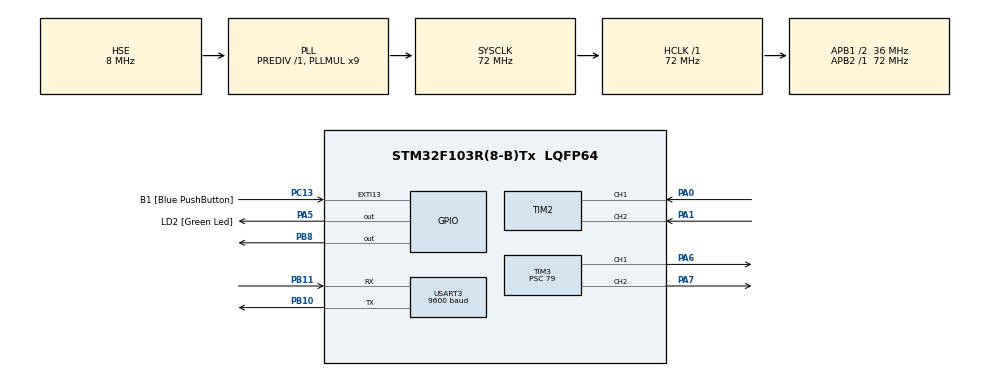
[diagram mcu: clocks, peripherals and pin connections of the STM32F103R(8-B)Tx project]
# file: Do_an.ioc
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Dma.Request0=USART3_TX
Dma.Request1=USART3_RX
Dma.USART3_RX.1.Direction=DMA_PERIPH_TO_MEMORY
Dma.USART3_RX.1.Instance=DMA1_Channel3
Dma.USART3_RX.1.MemDataAlignment=DMA_MDATAALIGN_BYTE
Dma.USART3_RX.1.MemInc=DMA_MINC_ENABLE
Dma.USART3_RX.1.Mode=DMA_NORMAL
Dma.USART3_RX.1.PeriphDataAlignment=DMA_PDATAALIGN_BYTE
Dma.USART3_RX.1.PeriphInc=DMA_PINC_DISABLE
Dma.USART3_RX.1.Priority=DMA_PRIORITY_HIGH
Dma.USART3_TX.0.Direction=DMA_MEMORY_TO_PERIPH
Dma.USART3_TX.0.Instance=DMA1_Channel2
Dma.USART3_TX.0.MemDataAlignment=DMA_MDATAALIGN_BYTE
Dma.USART3_TX.0.MemInc=DMA_MINC_ENABLE
Dma.USART3_TX.0.Mode=DMA_NORMAL
Dma.USART3_TX.0.PeriphDataAlignment=DMA_PDATAALIGN_BYTE
Dma.USART3_TX.0.PeriphInc=DMA_PINC_DISABLE
Dma.USART3_TX.0.Priority=DMA_PRIORITY_HIGH
Mcu.Family=STM32F1
Mcu.Name=STM32F103R(8-B)Tx
Mcu.Package=LQFP64
NVIC.DMA1_Channel2_IRQn=true\:0\:0\:false\:false\:true\:false\:true\:true
NVIC.DMA1_Channel3_IRQn=true\:0\:0\:false\:false\:true\:false\:true\:true
NVIC.EXTI15_10_IRQn=true\:0\:0\:false\:false\:true\:true\:true\:true
NVIC.PriorityGroup=NVIC_PRIORITYGROUP_4
NVIC.TIM2_IRQn=true\:0\:0\:false\:false\:true\:true\:true\:true
NVIC.USART3_IRQn=true\:0\:0\:false\:false\:true\:true\:true\:true
PA0-WKUP.Signal=S_TIM2_CH1_ETR
PA1.Signal=S_TIM2_CH2
PA13.GPIO_Label=TMS
PA13.Mode=Serial_Wire
PA13.Signal=SYS_JTMS-SWDIO
PA14.GPIO_Label=TCK
PA14.Mode=Serial_Wire
PA14.Signal=SYS_JTCK-SWCLK
PA5.GPIO_Label=LD2 [Green Led]
PA5.GPIO_ModeDefaultOutputPP=GPIO_MODE_OUTPUT_PP
PA5.GPIO_PuPd=GPIO_NOPULL
PA5.GPIO_Speed=GPIO_SPEED_FREQ_LOW
PA5.Signal=GPIO_Output
PA6.Signal=S_TIM3_CH1
PA7.Signal=S_TIM3_CH2
PB10.Mode=Asynchronous
PB10.Signal=USART3_TX
PB11.Mode=Asynchronous
PB11.Signal=USART3_RX
PB3.GPIO_Label=SWO
PB3.Signal=SYS_JTDO-TRACESWO
PB8.Signal=GPIO_Output
PC13-TAMPER-RTC.GPIO_Label=B1 [Blue PushButton]
PC13-TAMPER-RTC.GPIO_PuPd=GPIO_NOPULL
PC13-TAMPER-RTC.Signal=GPXTI13
PC14-OSC32_IN.Signal=RCC_OSC32_IN
PC15-OSC32_OUT.Signal=RCC_OSC32_OUT
PD0-OSC_IN.Mode=HSE-External-Oscillator
PD0-OSC_IN.Signal=RCC_OSC_IN
PD1-OSC_OUT.Mode=HSE-External-Oscillator
PD1-OSC_OUT.Signal=RCC_OSC_OUT
ProjectManager.HeapSize=0x200
ProjectManager.StackSize=0x400
ProjectManager.TargetToolchain=STM32CubeIDE
RCC.AHBFreq_Value=72000000
RCC.APB1CLKDivider=RCC_HCLK_DIV2
RCC.APB1Freq_Value=36000000
RCC.APB1TimFreq_Value=72000000
RCC.APB2Freq_Value=72000000
RCC.APB2TimFreq_Value=72000000
RCC.HCLKFreq_Value=72000000
RCC.PLLMUL=RCC_PLL_MUL9
RCC.PLLSourceVirtual=RCC_PLLSOURCE_HSE
RCC.RTCClockSelection=RCC_RTCCLKSOURCE_LSE
RCC.SYSCLKFreq_VALUE=72000000
RCC.SYSCLKSource=RCC_SYSCLKSOURCE_PLLCLK
RCC.USBFreq_Value=72000000
SH.S_TIM2_CH1_ETR.0=TIM2_CH1,Encoder_Interface
SH.S_TIM2_CH2.0=TIM2_CH2,Encoder_Interface
SH.S_TIM3_CH1.0=TIM3_CH1,PWM Generation1 CH1
SH.S_TIM3_CH2.0=TIM3_CH2,PWM Generation2 CH2
TIM2.EncoderMode=TIM_ENCODERMODE_TI12
TIM3.Channel-PWM\ Generation1\ CH1=TIM_CHANNEL_1
TIM3.Channel-PWM\ Generation2\ CH2=TIM_CHANNEL_2
TIM3.Period=10000
TIM3.Prescaler=79
USART3.BaudRate=9600
USART3.VirtualMode=VM_ASYNC
VP_TIM3_VS_ClockSourceINT.Mode=Internal
board=NUCLEO-F103RB

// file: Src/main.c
/* USER CODE BEGIN Header */
/**
 ******************************************************************************
 * @file           : main.c
 * @brief          : Main program body
 ******************************************************************************
 * @attention
 *
 * Copyright (c) 2023 STMicroelectronics.
 * All rights reserved.
 *
 * This software is licensed under terms that can be found in the LICENSE file
 * in the root directory of this software component.
 * If no LICENSE file comes with this software, it is provided AS-IS.
 *
 ******************************************************************************
 */
/* USER CODE END Header */
#include "main.h"

/* USER CODE BEGIN Includes */
#include "stdio.h"
#include <stdlib.h>
uint8_t RX_Buff_dma[8];
uint8_t RX_Data_dma;
uint8_t TX_Buff[25] = "Thuy Kieu xinh dep";
uint8_t rxIndex;
uint16_t Tx_Flag = 0;
int motor_state = 0;
int mode_select;
int last_motor_state = 0;
float tkp = 0;
float tki = 0;
float tkd = 0;
float a;
float b;
float g;
float delta;
typedef struct {
	uint8_t rawData[21];
	struct {
		char startStop[1];
		char setpoint[5];
		char kp[5];
		char ki[5];
		char kd[5];
	} data;
} rawData_t;
typedef struct {
	struct {
		float kp;
		float ki;
		float kd;
		float setpoint;
	} PID;
} data_t;

uint8_t rcv_flag = 0;

rawData_t rawData;
data_t data;
#define RX_BUFF_SIZE 22
uint8_t rx_buff[RX_BUFF_SIZE];
/* USER CODE END Includes */

TIM_HandleTypeDef htim2;
TIM_HandleTypeDef htim3;

UART_HandleTypeDef huart3;
DMA_HandleTypeDef hdma_usart3_tx;
DMA_HandleTypeDef hdma_usart3_rx;

void SystemClock_Config(void);
static void MX_GPIO_Init(void);
static void MX_DMA_Init(void);
static void MX_TIM2_Init(void);
static void MX_TIM3_Init(void);
static void MX_USART3_UART_Init(void);

/* USER CODE BEGIN 0 */
volatile short encoder_cnt = 0, encoder_cnt_pre = 0;
volatile short rate = 0, pulse;
//volatile short a = 0, b = 0;
uint16_t var, pwm, pwm_last = 0;
float speed; //tốc độ (rpm)
//const uint8_t * buffer[8];
char buffer[8]; //  ?ịnh nghĩa bộ đệm đủ lớn để lưu trữ chuỗi số
char buffer_pos[8];
float speed_ref;
float setpoint = 0;
float kp;
float ki;
float kd;
float e_current, E1 = 0, E2 = 0;
float a, b, g;
char buffer_speed_ref[6];
int64_t position = 0;
int16_t position_ref;
int16_t position_deg = 0;
uint32_t last_counter = 0;
int16_t velocity = 0;

//uint32_t timer_counter;
uint16_t PID(float T);
uint16_t PID_POS(float T, float e_pos);
//void HAL_TIM_PeriodElapsedCallback(TIM_HandleTypeDef *htim){
//	timer_counter = __HAL_TIM_GET_COUNTER(&htim2);
//}

uint32_t counter = 0;

void HAL_TIM_IC_CaptureCallback(TIM_HandleTypeDef *htim) {
	counter = __HAL_TIM_GET_COUNTER(htim);
}
void floatToStr(float value, char *buffer, int bufferSize) {
	if (value >= 100)
		snprintf(buffer, bufferSize, "%.2f", value);

	else if (value >= 10) //10.1 -> 99.99
		snprintf(buffer, bufferSize, "%.3f", value);

	else
		snprintf(buffer, bufferSize, "%.4f", value);

}
float stringToFloat(char *str) {
	return atof(str);
}

void DMA_RxComplete_Callback() {
	uint16_t i;
	__HAL_DMA_CLEAR_FLAG(&hdma_usart3_rx, DMA_FLAG_TC3);
	/* Copy received data to rawData buffer */
	for (i = 0; i < RX_BUFF_SIZE; i++) {
		rawData.rawData[i] = rx_buff[i];
	}
	char char_value[5];

	motor_state = rx_buff[0] - 48;
	mode_select = rx_buff[21] - 48;
	for (int i = 1, j = 0; i <= 5; i++) {
		char_value[j++] = rx_buff[i];
	}
	if (mode_select == 0)
		speed_ref = atoff(char_value);
	else
		position_ref = atoff(char_value);
	for (int i = 6, j = 0; i <= 10; i++) {
		char_value[j++] = rx_buff[i];
	}
	kp = atoff(char_value);
	for (int i = 11, j = 0; i <= 15; i++) {
		char_value[j++] = rx_buff[i];
	}
	ki = atoff(char_value);
	for (int i = 16, j = 0; i <= 20; i++) {
		char_value[j++] = rx_buff[i];
	}
	kd = atoff(char_value);
//     speed_ref = (rx_buff[3] - 48)*100 + (rx_buff[4] - 48)*10 +(rx_buff[5]);
//      kp = rx_buff[10] - 48;
//      ki = rx_buff[15] - 48;
//      kd = (rx_buff[18] - 48) + (rx_buff);//ê có hàm string to float mà đâu
//      motor_state = rx_buff[0] - 48;// chưa hiểu hàm đó lắm, hàm đó t h�?i con chat ngu, để fix thử hàm đó xem
//      motor_state = rx_buff[0] - 48;
//      motor_state = rx_buff[0] - 48;

	/* Set flag to indicate that a frame has been received */
	rcv_flag = 1;

	/* Enable DMA1 to receive next frame */
	HAL_UART_Receive_DMA(&huart3, rx_buff, sizeof(rx_buff));
}
/* USER CODE END 0 */

int main(void) {
	/* USER CODE BEGIN 1 */
	float T = 50;
	/* USER CODE END 1 */

	/* MCU Configuration--------------------------------------------------------*/

	/* Reset of all peripherals, Initializes the Flash interface and the Systick. */
	HAL_Init();

	/* Configure the system clock */
	SystemClock_Config();

	/* Initialize all configured peripherals */
	MX_GPIO_Init();
	MX_DMA_Init();
	MX_TIM2_Init();
	MX_TIM3_Init();
	MX_USART3_UART_Init();
	/* USER CODE BEGIN 2 */
	HAL_TIM_Encoder_Start(&htim2, TIM_CHANNEL_1 | TIM_CHANNEL_2);
	HAL_TIM_PWM_Start(&htim3, TIM_CHANNEL_1);
	HAL_TIM_PWM_Start(&htim3, TIM_CHANNEL_2);
	HAL_UART_Receive_DMA(&huart3, rx_buff, sizeof(rx_buff));
	/* USER CODE END 2 */

	/* Infinite loop */
	/* USER CODE BEGIN WHILE */
	while (1) {
		DMA_RxComplete_Callback();
		encoder_cnt = __HAL_TIM_GET_COUNTER(&htim2);
		rate = encoder_cnt - encoder_cnt_pre;
		encoder_cnt_pre = encoder_cnt;
		speed = rate / 1320.0 / T * 60 * 1000;
		uint32_t temp_counter = __HAL_TIM_GET_COUNTER(&htim2);
		if (temp_counter == last_counter)
			velocity = 0;
		else if (temp_counter > last_counter)
			if (__HAL_TIM_IS_TIM_COUNTING_DOWN(&htim2)) {
				velocity = -last_counter
						- (__HAL_TIM_GET_AUTORELOAD(&htim2) - temp_counter);

			} else {
				velocity = temp_counter - last_counter;
			}
		else {
			if (__HAL_TIM_IS_TIM_COUNTING_DOWN(&htim2)) {
				velocity = temp_counter - last_counter;
			} else {
				velocity = temp_counter
						+ (__HAL_TIM_GET_AUTORELOAD(&htim2) - last_counter);
			}
		}
		position += velocity;
		position_deg = position/1320.0*360;
		last_counter = temp_counter;

		if (mode_select == 0) {
			floatToStr(speed, buffer, 8);
			buffer[6] = '\r';
			buffer[7] = '\n';
			HAL_UART_Transmit_DMA(&huart3, buffer, sizeof(buffer));
			if (motor_state == 1) {
				//HAL_GPIO_TogglePin(GPIOB, GPIO_PIN_8);
				if (last_motor_state == 0) {
					HAL_GPIO_WritePin(GPIOB, GPIO_PIN_8, 1); // thư�?ng lệnh này chỉ cho thay đổi 1 lần chứ ko cho chạy lien tuc
					last_motor_state = 1;
				}

				__HAL_TIM_SET_COMPARE(&htim3, TIM_CHANNEL_1, PID(T));
				__HAL_TIM_SET_COMPARE(&htim3, TIM_CHANNEL_2, 0);
			}
			if (motor_state == 0 && last_motor_state == 1) {

				HAL_GPIO_WritePin(GPIOB, GPIO_PIN_8, 0);
				last_motor_state = 0;
				position = 0;
				pwm_last = 0;
				E1 = 0;
				E2 = 0;
			}
			HAL_Delay(T);
		} else {

			floatToStr(position_deg, buffer_pos, 8);
			buffer_pos[6] = '\r';
			buffer_pos[7] = '\n';
			HAL_UART_Transmit_DMA(&huart3, buffer_pos, sizeof(buffer_pos));
			if (motor_state == 1) {
				//HAL_GPIO_TogglePin(GPIOB, GPIO_PIN_8);
				if (last_motor_state == 0) {
					HAL_GPIO_WritePin(GPIOB, GPIO_PIN_8, 1); // thư�?ng lệnh này chỉ cho thay đổi 1 lần chứ ko cho chạy lien tuc
					last_motor_state = 1;
				}
				//if ()
				float e_pos = position_ref - position_deg;
				if (e_pos >= 0) {
					__HAL_TIM_SET_COMPARE(&htim3, TIM_CHANNEL_1,
							PID_POS(T, e_pos));
					__HAL_TIM_SET_COMPARE(&htim3, TIM_CHANNEL_2, 0);
				} else {
					__HAL_TIM_SET_COMPARE(&htim3, TIM_CHANNEL_1, 0);
					__HAL_TIM_SET_COMPARE(&htim3, TIM_CHANNEL_2,
							PID_POS(T, -e_pos));
				}

			}
			if (motor_state == 0 && last_motor_state == 1) {

				HAL_GPIO_WritePin(GPIOB, GPIO_PIN_8, 0);
				last_motor_state = 0;
				position = 0;
				pwm_last = 0;
				E1 = 0;
				E2 = 0;
			}
			HAL_Delay(T);

		}
		/* USER CODE END WHILE */

	}
}

void SystemClock_Config(void) {
	RCC_OscInitTypeDef RCC_OscInitStruct = { 0 };
	RCC_ClkInitTypeDef RCC_ClkInitStruct = { 0 };

	/** Initializes the RCC Oscillators according to the specified parameters
	 * in the RCC_OscInitTypeDef structure.
	 */
	RCC_OscInitStruct.OscillatorType = RCC_OSCILLATORTYPE_HSE;
	RCC_OscInitStruct.HSEState = RCC_HSE_ON;
	RCC_OscInitStruct.HSEPredivValue = RCC_HSE_PREDIV_DIV1;
	RCC_OscInitStruct.HSIState = RCC_HSI_ON;
	RCC_OscInitStruct.PLL.PLLState = RCC_PLL_ON;
	RCC_OscInitStruct.PLL.PLLSource = RCC_PLLSOURCE_HSE;
	RCC_OscInitStruct.PLL.PLLMUL = RCC_PLL_MUL9;
	if (HAL_RCC_OscConfig(&RCC_OscInitStruct) != HAL_OK) {
		Error_Handler();
	}

	/** Initializes the CPU, AHB and APB buses clocks
	 */
	RCC_ClkInitStruct.ClockType = RCC_CLOCKTYPE_HCLK | RCC_CLOCKTYPE_SYSCLK
			| RCC_CLOCKTYPE_PCLK1 | RCC_CLOCKTYPE_PCLK2;
	RCC_ClkInitStruct.SYSCLKSource = RCC_SYSCLKSOURCE_PLLCLK;
	RCC_ClkInitStruct.AHBCLKDivider = RCC_SYSCLK_DIV1;
	RCC_ClkInitStruct.APB1CLKDivider = RCC_HCLK_DIV2;
	RCC_ClkInitStruct.APB2CLKDivider = RCC_HCLK_DIV1;

	if (HAL_RCC_ClockConfig(&RCC_ClkInitStruct, FLASH_LATENCY_2) != HAL_OK) {
		Error_Handler();
	}
}

static void MX_TIM2_Init(void) {

	TIM_Encoder_InitTypeDef sConfig = { 0 };
	TIM_MasterConfigTypeDef sMasterConfig = { 0 };

	/* USER CODE BEGIN TIM2_Init 1 */
	//HAL_TIM_Encoder_Start(&htim2, TIM_CHANNEL_ALL);
	/* USER CODE END TIM2_Init 1 */
	htim2.Instance = TIM2;
	htim2.Init.Prescaler = 0;
	htim2.Init.CounterMode = TIM_COUNTERMODE_UP;
	htim2.Init.Period = 65535;
	htim2.Init.ClockDivision = TIM_CLOCKDIVISION_DIV1;
	htim2.Init.AutoReloadPreload = TIM_AUTORELOAD_PRELOAD_DISABLE;
	sConfig.EncoderMode = TIM_ENCODERMODE_TI12;
	sConfig.IC1Polarity = TIM_ICPOLARITY_RISING;
	sConfig.IC1Selection = TIM_ICSELECTION_DIRECTTI;
	sConfig.IC1Prescaler = TIM_ICPSC_DIV1;
	sConfig.IC1Filter = 0;
	sConfig.IC2Polarity = TIM_ICPOLARITY_RISING;
	sConfig.IC2Selection = TIM_ICSELECTION_DIRECTTI;
	sConfig.IC2Prescaler = TIM_ICPSC_DIV1;
	sConfig.IC2Filter = 0;
	if (HAL_TIM_Encoder_Init(&htim2, &sConfig) != HAL_OK) {
		Error_Handler();
	}
	sMasterConfig.MasterOutputTrigger = TIM_TRGO_RESET;
	sMasterConfig.MasterSlaveMode = TIM_MASTERSLAVEMODE_DISABLE;
	if (HAL_TIMEx_MasterConfigSynchronization(&htim2, &sMasterConfig)
			!= HAL_OK) {
		Error_Handler();
	}

}

static void MX_TIM3_Init(void) {

	TIM_ClockConfigTypeDef sClockSourceConfig = { 0 };
	TIM_MasterConfigTypeDef sMasterConfig = { 0 };
	TIM_OC_InitTypeDef sConfigOC = { 0 };

	htim3.Instance = TIM3;
	htim3.Init.Prescaler = 79;
	htim3.Init.CounterMode = TIM_COUNTERMODE_UP;
	htim3.Init.Period = 9999;
	htim3.Init.ClockDivision = TIM_CLOCKDIVISION_DIV1;
	htim3.Init.AutoReloadPreload = TIM_AUTORELOAD_PRELOAD_DISABLE;
	if (HAL_TIM_Base_Init(&htim3) != HAL_OK) {
		Error_Handler();
	}
	sClockSourceConfig.ClockSource = TIM_CLOCKSOURCE_INTERNAL;
	if (HAL_TIM_ConfigClockSource(&htim3, &sClockSourceConfig) != HAL_OK) {
		Error_Handler();
	}
	if (HAL_TIM_PWM_Init(&htim3) != HAL_OK) {
		Error_Handler();
	}
	sMasterConfig.MasterOutputTrigger = TIM_TRGO_RESET;
	sMasterConfig.MasterSlaveMode = TIM_MASTERSLAVEMODE_DISABLE;
	if (HAL_TIMEx_MasterConfigSynchronization(&htim3, &sMasterConfig)
			!= HAL_OK) {
		Error_Handler();
	}
	sConfigOC.OCMode = TIM_OCMODE_PWM1;
	sConfigOC.Pulse = 0;
	sConfigOC.OCPolarity = TIM_OCPOLARITY_HIGH;
	sConfigOC.OCFastMode = TIM_OCFAST_DISABLE;
	if (HAL_TIM_PWM_ConfigChannel(&htim3, &sConfigOC, TIM_CHANNEL_1)
			!= HAL_OK) {
		Error_Handler();
	}
	if (HAL_TIM_PWM_ConfigChannel(&htim3, &sConfigOC, TIM_CHANNEL_2)
			!= HAL_OK) {
		Error_Handler();
	}
	HAL_TIM_MspPostInit(&htim3);

}

static void MX_USART3_UART_Init(void) {

	huart3.Instance = USART3;
	huart3.Init.BaudRate = 9600;
	huart3.Init.WordLength = UART_WORDLENGTH_8B;
	huart3.Init.StopBits = UART_STOPBITS_1;
	huart3.Init.Parity = UART_PARITY_NONE;
	huart3.Init.Mode = UART_MODE_TX_RX;
	huart3.Init.HwFlowCtl = UART_HWCONTROL_NONE;
	huart3.Init.OverSampling = UART_OVERSAMPLING_16;
	if (HAL_UART_Init(&huart3) != HAL_OK) {
		Error_Handler();
	}

}

static void MX_DMA_Init(void) {

	/* DMA controller clock enable */
	__HAL_RCC_DMA1_CLK_ENABLE();

	/* DMA interrupt init */
	/* DMA1_Channel2_IRQn interrupt configuration */
	HAL_NVIC_SetPriority(DMA1_Channel2_IRQn, 0, 0);
	HAL_NVIC_EnableIRQ(DMA1_Channel2_IRQn);
	/* DMA1_Channel3_IRQn interrupt configuration */
	HAL_NVIC_SetPriority(DMA1_Channel3_IRQn, 0, 0);
	HAL_NVIC_EnableIRQ(DMA1_Channel3_IRQn);

}

static void MX_GPIO_Init(void) {
	GPIO_InitTypeDef GPIO_InitStruct = { 0 };

	/* GPIO Ports Clock Enable */
	__HAL_RCC_GPIOC_CLK_ENABLE();
	__HAL_RCC_GPIOD_CLK_ENABLE();
	__HAL_RCC_GPIOA_CLK_ENABLE();
	__HAL_RCC_GPIOB_CLK_ENABLE();

	/*Configure GPIO pin Output Level */
	HAL_GPIO_WritePin(LD2_GPIO_Port, LD2_Pin, GPIO_PIN_RESET);

	/*Configure GPIO pin Output Level */
	HAL_GPIO_WritePin(GPIOB, GPIO_PIN_8, GPIO_PIN_RESET);

	/*Configure GPIO pin : B1_Pin */
	GPIO_InitStruct.Pin = B1_Pin;
	GPIO_InitStruct.Mode = GPIO_MODE_IT_RISING;
	GPIO_InitStruct.Pull = GPIO_NOPULL;
	HAL_GPIO_Init(B1_GPIO_Port, &GPIO_InitStruct);

	/*Configure GPIO pin : LD2_Pin */
	GPIO_InitStruct.Pin = LD2_Pin;
	GPIO_InitStruct.Mode = GPIO_MODE_OUTPUT_PP;
	GPIO_InitStruct.Pull = GPIO_NOPULL;
	GPIO_InitStruct.Speed = GPIO_SPEED_FREQ_LOW;
	HAL_GPIO_Init(LD2_GPIO_Port, &GPIO_InitStruct);

	/*Configure GPIO pin : PB8 */
	GPIO_InitStruct.Pin = GPIO_PIN_8;
	GPIO_InitStruct.Mode = GPIO_MODE_OUTPUT_PP;
	GPIO_InitStruct.Pull = GPIO_NOPULL;
	GPIO_InitStruct.Speed = GPIO_SPEED_FREQ_LOW;
	HAL_GPIO_Init(GPIOB, &GPIO_InitStruct);

	/* EXTI interrupt init*/
	HAL_NVIC_SetPriority(EXTI15_10_IRQn, 0, 0);
	HAL_NVIC_EnableIRQ(EXTI15_10_IRQn);

}

/* USER CODE BEGIN 4 */
uint16_t PID(float T) {		//này ko ảnh hưởng

	e_current = speed_ref - speed;	//dât chưa có pid, no deo cap nhat dc dko,

//	a = 2 * kp + ki + 2 * kd;
//	b = ki - 4 * kd - 2 * kp;
//	g = 2 * kd;		// do này nè

//	a = 2*0.3*kp + ki*0.2*0.2 + 2*kd; // ct lỏ
//	b = ki*0.15 - 4*kd - 2*0.15*kp;
//	g = 2*kd;
	a = 2.0 * T / 1000.0 * kp + ki * T * T / 1000.0 / 1000 + 2.0 * kd;
	b = T / 1000.0 * T / 1000 * ki - 4.0 * kd - 2.0 * T / 1000.0 * kp;
	g = 2.0 * kd;
	delta = 2.0 * T / 1000.0;

//	a = 2 * T * kp + ki * T * T + 2 * kd;
//	b = T * T * ki - 4 * kd - 2 * T * kp;
//	g = 2 * kd;
//	a = 2 * T/1000 * kp + ki * T * T/1000/1000 + 2 * kd;
//	b = T/1000 * T/1000 * ki - 4 * kd - 2 * T/1000 * kp;
//	g = 2 * kd;
	pwm = (a * e_current + b * E1 + g * E2 + delta * pwm_last) / delta;
//	pwm = (a * e_current + b * E1 + g * E2 + 0.2 * pwm_last) / (2*0.1);//ct lỏ
	if (pwm - pwm_last < 50 && pwm - pwm_last > -50) {
		pwm_last = pwm;
		return pwm;
	}

	//pwm = (a*e_current + b*E1 + g*E2 + 2*pwm_last)/2;

	//pwm = pwm_last + kp*(e_current - E1) + ki*T/2/1000*(e_current - E1)+ kd/T/1000*(e_current - 2*E1 + E2);

	pwm_last = pwm;
	//pwm = pwm_last + kp*(e_current - E1) + ki*T/2*(e_current + E1) + kd/T*(e_current - 2*E1 + E2);
	E2 = E1;
	E1 = e_current;

	if (pwm > 10000)
		pwm = 10000;
	else if (pwm < 0)
		pwm = 0;
	return pwm;
}

uint16_t PID_POS(float T, float e_pos) {
	//e_current = position_ref - position;//dât chưa có pid, no deo cap nhat dc dko,
	e_current = e_pos;
	a = 2.0 * T / 1000.0 * kp + ki * T * T / 1000.0 / 1000 + 2.0 * kd;
	b = T / 1000.0 * T / 1000 * ki - 4.0 * kd - 2.0 * T / 1000.0 * kp;
	g = 2.0 * kd;
	delta = 2.0 * T / 1000.0;

	pwm = (a * e_current + b * E1 + g * E2 + delta * pwm_last) / delta;
	//	pwm = (a * e_current + b * E1 + g * E2 + 0.2 * pwm_last) / (2*0.1);//ct lỏ
	if (pwm - pwm_last < 25 && pwm - pwm_last > -25) {
		pwm_last = pwm;
		return pwm;
	}
}
/* USER CODE END 4 */

void Error_Handler(void) {
	__disable_irq();
	while (1) {
	}
}
